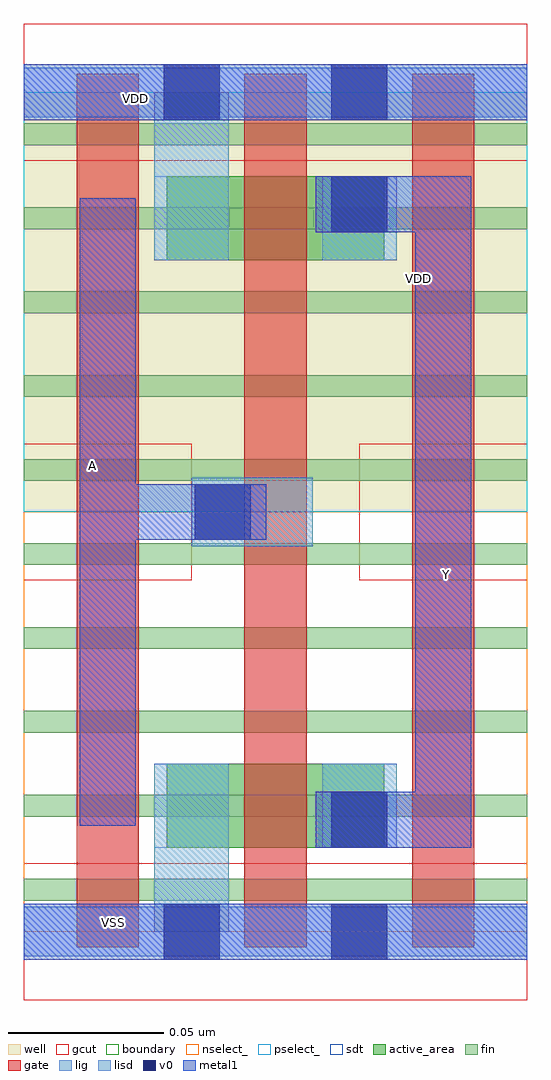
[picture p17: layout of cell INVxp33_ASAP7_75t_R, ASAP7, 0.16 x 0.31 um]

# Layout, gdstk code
import gdstk
lib = gdstk.Library(unit=1e-6, precision=1e-09)
def R(c, l, rs):  # rectangles x0, y0, x1, y1
    for r in rs: c.add(gdstk.rectangle(r[:2], r[2:], *l))
def A(c, l, x, y, w, h, nx, ny, dx, dy):  # array of equal rectangles
    R(c, l, [(x+i*dx, y+j*dy, x+i*dx+w, y+j*dy+h) for i in range(nx) for j in range(ny)])
def P(c, l, *ps):  # polygons
    for p in ps: c.add(gdstk.Polygon(p, *l))
well = (1, 0)
fin = (2, 0)
gate = (7, 0)
gcut = (10, 0)
active_area = (11, 0)
nselect_ = (12, 0)
pselect_ = (13, 0)
lig = (16, 0)
lisd = (17, 0)
v0 = (18, 0)
metal1 = (19, 0)
sdt = (88, 0)
boundary = (100, 0)

invxp33_asap7_75t_r = lib.new_cell('INVxp33_ASAP7_75t_R')
R(invxp33_asap7_75t_r, well, [(0,0.135,0.162,0.27)])
A(invxp33_asap7_75t_r, fin, 0, 0.01, 0.162, 0.007, 1, 10, 0, 0.027)
A(invxp33_asap7_75t_r, gate, 0.017, -0.005, 0.02, 0.281, 3, 1, 0.054, 0)
R(invxp33_asap7_75t_r, gcut, [(0,-0.022,0.162,0.022), (0,0.113,0.054,0.157), (0.108,0.113,0.162,0.157), (0,0.248,0.162,0.292)])
R(invxp33_asap7_75t_r, active_area, [(0.046,0.027,0.116,0.054), (0.046,0.216,0.116,0.243)])
R(invxp33_asap7_75t_r, nselect_, [(0,0,0.162,0.135)])
R(invxp33_asap7_75t_r, pselect_, [(0,0.135,0.162,0.27)])
R(invxp33_asap7_75t_r, lig, [(0,-0.008,0.162,0.008), (0.054,0.124,0.093,0.146), (0,0.262,0.162,0.278)])
R(invxp33_asap7_75t_r, lisd, [(0.042,0,0.066,0.054), (0.096,0.027,0.12,0.054), (0.042,0.216,0.066,0.27), (0.096,0.216,0.12,0.243)])
R(invxp33_asap7_75t_r, v0, [(0.045,-0.009,0.063,0.009), (0.099,-0.009,0.117,0.009), (0.099,0.027,0.117,0.045), (0.055,0.126,0.073,0.144), (0.099,0.225,0.117,0.243), (0.045,0.261,0.063,0.279), (0.099,0.261,0.117,0.279)])
R(invxp33_asap7_75t_r, metal1, [(0,-0.009,0.162,0.009), (0,0.261,0.162,0.279)])
P(invxp33_asap7_75t_r, metal1, [(0.018,0.034),(0.018,0.236),(0.036,0.236),(0.036,0.144),(0.078,0.144),(0.078,0.126),(0.036,0.126),(0.036,0.034)],
  [(0.094,0.027),(0.094,0.045),(0.126,0.045),(0.126,0.225),(0.094,0.225),(0.094,0.243),(0.144,0.243),(0.144,0.027)])
R(invxp33_asap7_75t_r, sdt, [(0.042,0.027,0.066,0.054), (0.096,0.027,0.12,0.054), (0.042,0.216,0.066,0.243), (0.096,0.216,0.12,0.243)])
R(invxp33_asap7_75t_r, boundary, [(0,0,0.162,0.27)])
invxp33_asap7_75t_r.add(gdstk.Label('VSS', (0.029,0.003), layer=19, texttype=251))
invxp33_asap7_75t_r.add(gdstk.Label('VDD', (0.036,0.268), layer=19, texttype=251))
invxp33_asap7_75t_r.add(gdstk.Label('A', (0.022,0.15), layer=19, texttype=251))
invxp33_asap7_75t_r.add(gdstk.Label('Y', (0.136,0.115), layer=19, texttype=251))
invxp33_asap7_75t_r.add(gdstk.Label('VDD', (0.127,0.21), layer=1, texttype=251))
invxp33_asap7_75t_r.add(gdstk.Label('VSS', (0.196,0.209), layer=3, texttype=251))

lib.write_gds('INVxp33_ASAP7_75t_R.gds')
